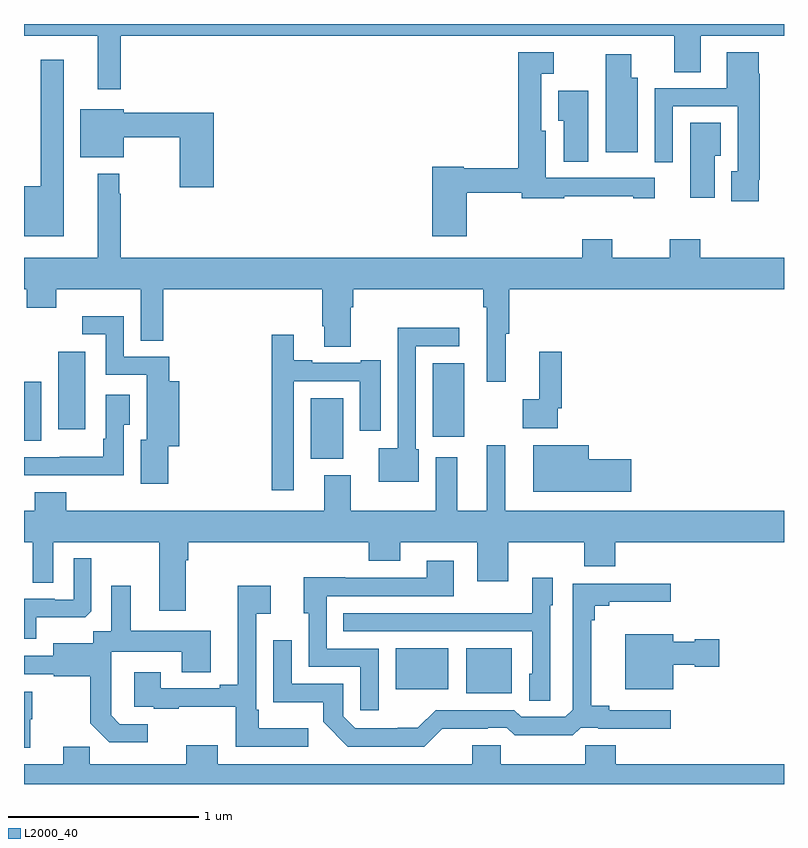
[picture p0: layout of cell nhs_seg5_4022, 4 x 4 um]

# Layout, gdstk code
import gdstk
lib = gdstk.Library(unit=1e-6, precision=1e-09)
def R(c, l, rs):  # rectangles x0, y0, x1, y1
    for r in rs: c.add(gdstk.rectangle(r[:2], r[2:], *l))
def P(c, l, *ps):  # polygons
    for p in ps: c.add(gdstk.Polygon(p, *l))
L2000_40 = (2000, 40)

nhs_seg5_4022 = lib.new_cell('nhs_seg5_4022')
R(nhs_seg5_4022, L2000_40, [(349.328,877.277,349.567,877.513), (348.956,877.298,349.234,877.513), (348.509,878.51,348.679,878.83), (347,878.605,347.092,878.916), (349.151,878.627,349.318,879.013), (347.18,878.667,347.323,879.073)])
P(nhs_seg5_4022, L2000_40, [(347.509,880.736),(350.423,880.736),(350.423,880.546),(350.563,880.546),(350.563,880.736),(351,880.736),(351,880.799),(347,880.799),(347,880.736),(347.387,880.736),(347.387,880.455),(347.509,880.455)],
  [(349.331,879.912),(349.619,879.912),(349.619,879.882),(349.843,879.882),(349.843,879.892),(350.207,879.892),(350.207,879.882),(350.319,879.882),(350.319,879.99),(349.747,879.99),(349.747,880.236),(349.723,880.236),(349.723,880.538),(349.789,880.538),(349.789,880.651),(349.602,880.651),(349.602,880.04),(349.314,880.04),(349.314,880.048),(349.148,880.048),(349.148,879.681),(349.331,879.681)],
  [(350.866,879.979),(350.873,879.979),(350.873,880.538),(350.867,880.538),(350.867,880.651),(350.699,880.651),(350.699,880.461),(350.319,880.461),(350.319,880.071),(350.415,880.071),(350.415,880.365),(350.757,880.365),(350.757,880.023),(350.723,880.023),(350.723,879.867),(350.866,879.867)],
  [(350.23,880.516),(350.197,880.516),(350.197,880.639),(350.063,880.639),(350.063,880.124),(350.23,880.124)],
  [(347.209,880.612),(347.088,880.612),(347.088,879.946),(347,879.946),(347,879.683),(347.209,879.683)],
  [(349.969,880.447),(349.811,880.447),(349.811,880.291),(349.841,880.291),(349.841,880.075),(349.969,880.075)],
  [(347.999,880.333),(347.524,880.333),(347.524,880.351),(347.297,880.351),(347.297,880.097),(347.524,880.097),(347.524,880.204),(347.821,880.204),(347.821,879.939),(347.999,879.939)],
  [(350.635,880.106),(350.668,880.106),(350.668,880.28),(350.507,880.28),(350.507,879.885),(350.635,879.885)],
  [(349.535,879.168),(349.553,879.168),(349.553,879.404),(351,879.404),(351,879.568),(350.558,879.568),(350.558,879.667),(350.398,879.667),(350.398,879.568),(350.097,879.568),(350.097,879.667),(349.937,879.667),(349.937,879.568),(347.509,879.568),(347.509,879.905),(347.501,879.905),(347.501,880.012),(347.387,880.012),(347.387,879.568),(347,879.568),(347,879.404),(347.014,879.404),(347.014,879.305),(347.169,879.305),(347.169,879.404),(347.615,879.404),(347.615,879.133),(347.734,879.133),(347.734,879.404),(348.569,879.404),(348.569,879.208),(348.581,879.208),(348.581,879.1),(348.721,879.1),(348.721,879.308),(348.734,879.308),(348.734,879.404),(349.417,879.404),(349.417,879.308),(349.436,879.308),(349.436,878.916),(349.535,878.916)],
  [(347.759,878.576),(347.816,878.576),(347.816,878.92),(347.764,878.92),(347.764,879.048),(347.526,879.048),(347.526,879.262),(347.307,879.262),(347.307,879.165),(347.43,879.165),(347.43,878.952),(347.645,878.952),(347.645,878.611),(347.615,878.611),(347.615,878.379),(347.759,878.379)],
  [(349.078,878.562),(349.062,878.562),(349.062,879.102),(349.291,879.102),(349.291,879.2),(348.966,879.2),(348.966,878.566),(348.866,878.566),(348.866,878.39),(349.078,878.39)],
  [(348.42,878.919),(348.767,878.919),(348.767,878.658),(348.877,878.658),(348.877,879.028),(348.773,879.028),(348.773,879.015),(348.517,879.015),(348.517,879.028),(348.421,879.028),(348.421,879.163),(348.304,879.163),(348.304,878.346),(348.42,878.346)],
  [(349.809,878.776),(349.829,878.776),(349.829,879.073),(349.712,879.073),(349.712,878.825),(349.626,878.825),(349.626,878.672),(349.809,878.672)],
  [(347.526,878.689),(347.557,878.689),(347.557,878.848),(347.43,878.848),(347.43,878.617),(347.418,878.617),(347.418,878.521),(347.188,878.521),(347.188,878.52),(347,878.52),(347,878.424),(347.305,878.424),(347.305,878.423),(347.526,878.423)],
  [(347.851,877.976),(347.864,877.976),(347.864,878.072),(348.815,878.072),(348.815,877.973),(348.979,877.973),(348.979,878.072),(349.385,878.072),(349.385,877.866),(349.549,877.866),(349.549,878.072),(349.949,878.072),(349.949,877.944),(350.113,877.944),(350.113,878.072),(351,878.072),(351,878.236),(349.534,878.236),(349.534,878.581),(349.436,878.581),(349.436,878.236),(349.279,878.236),(349.279,878.518),(349.166,878.518),(349.166,878.236),(348.721,878.236),(348.721,878.425),(348.581,878.425),(348.581,878.236),(347.222,878.236),(347.222,878.335),(347.057,878.335),(347.057,878.236),(347,878.236),(347,878.072),(347.046,878.072),(347.046,877.858),(347.154,877.858),(347.154,878.072),(347.711,878.072),(347.711,877.71),(347.851,877.71)],
  [(350.197,878.507),(349.972,878.507),(349.972,878.581),(349.679,878.581),(349.679,878.336),(350.197,878.336)],
  [(347.065,877.676),(347.323,877.676),(347.355,877.707),(347.355,877.987),(347.262,877.987),(347.262,877.77),(347.162,877.77),(347.162,877.773),(347,877.773),(347,877.563),(347.065,877.563)],
  [(348.867,877.512),(348.594,877.512),(348.594,877.788),(349.261,877.788),(349.261,877.975),(349.121,877.975),(349.121,877.884),(348.691,877.884),(348.691,877.886),(348.473,877.886),(348.473,877.698),(348.498,877.698),(348.498,877.416),(348.771,877.416),(348.771,877.188),(348.867,877.188)],
  [(349.77,877.74),(349.783,877.74),(349.783,877.885),(349.674,877.885),(349.674,877.699),(349.357,877.699),(349.357,877.698),(348.679,877.698),(348.679,877.602),(349.674,877.602),(349.674,877.38),(349.658,877.38),(349.658,877.237),(349.77,877.237)],
  [(349.202,877.091),(349.442,877.091),(349.442,877.095),(349.542,877.095),(349.582,877.056),(349.889,877.056),(349.929,877.095),(350.023,877.095),(350.023,877.091),(350.404,877.091),(350.404,877.188),(350.08,877.188),(350.08,877.211),(349.985,877.211),(349.985,877.661),(350.003,877.661),(350.003,877.738),(350.08,877.738),(350.08,877.757),(350.404,877.757),(350.404,877.854),(349.887,877.854),(349.887,877.191),(349.848,877.152),(349.617,877.152),(349.581,877.188),(349.167,877.188),(349.073,877.094),(348.968,877.094),(348.968,877.092),(348.744,877.092),(348.681,877.155),(348.681,877.326),(348.408,877.326),(348.408,877.555),(348.312,877.555),(348.312,877.229),(348.574,877.229),(348.574,877.127),(348.704,876.996),(349.107,876.996)],
  [(347.65,877.113),(347.505,877.113),(347.458,877.16),(347.458,877.255),(347.46,877.255),(347.46,877.496),(347.831,877.496),(347.831,877.387),(347.983,877.387),(347.983,877.606),(347.563,877.606),(347.563,877.843),(347.459,877.843),(347.459,877.604),(347.364,877.604),(347.364,877.54),(347.153,877.54),(347.153,877.473),(347,877.473),(347,877.377),(347.157,877.377),(347.157,877.365),(347.349,877.365),(347.349,877.119),(347.449,877.019),(347.65,877.019)],
  [(348.496,877.093),(348.235,877.093),(348.235,877.189),(348.222,877.189),(348.222,877.694),(348.298,877.694),(348.298,877.843),(348.125,877.843),(348.125,877.321),(348.029,877.321),(348.029,877.302),(347.719,877.302),(347.719,877.387),(347.579,877.387),(347.579,877.206),(347.683,877.206),(347.683,877.194),(347.815,877.194),(347.815,877.205),(348.114,877.205),(348.114,876.996),(348.496,876.996)],
  [(350.416,877.427),(350.529,877.427),(350.529,877.415),(350.659,877.415),(350.659,877.562),(350.529,877.562),(350.529,877.549),(350.416,877.549),(350.416,877.588),(350.165,877.588),(350.165,877.298),(350.416,877.298)],
  [(347.032,877.14),(347.044,877.14),(347.044,877.284),(347,877.284),(347,876.989),(347.032,876.989)],
  [(347.855,877.003),(347.855,876.904),(347.345,876.904),(347.345,876.995),(347.207,876.995),(347.207,876.904),(347,876.904),(347,876.799),(351,876.799),(351,876.904),(350.114,876.904),(350.114,877.002),(349.954,877.002),(349.954,876.904),(349.509,876.904),(349.509,877.002),(349.358,877.002),(349.358,876.904),(348.019,876.904),(348.019,877.003)])

lib.write_gds('nhs_seg5_4022.gds')
